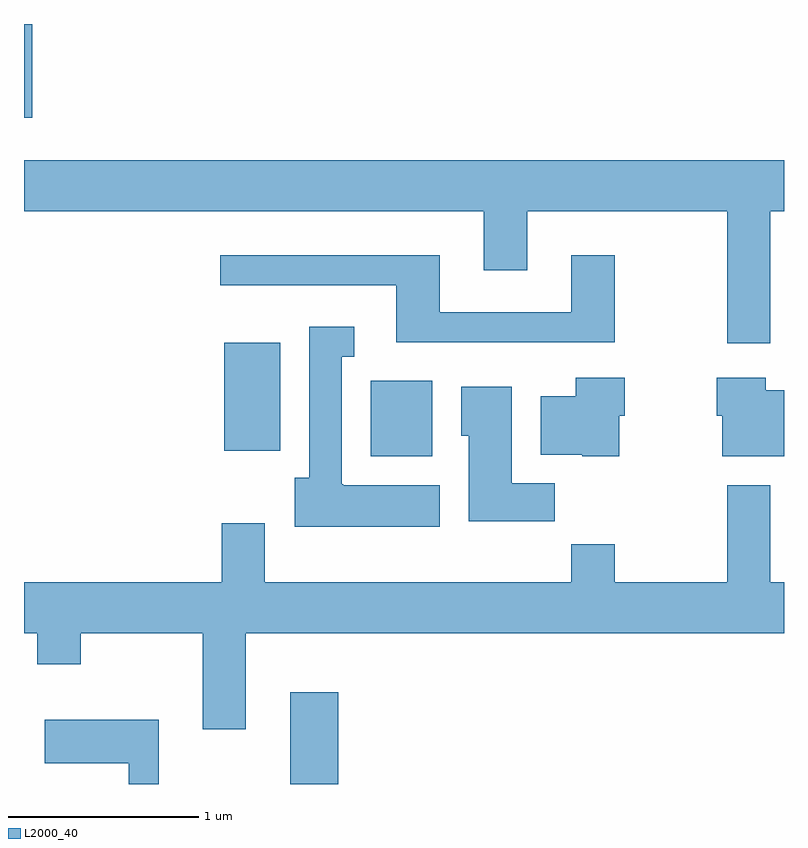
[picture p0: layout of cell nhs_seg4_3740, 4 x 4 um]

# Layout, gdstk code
import gdstk
lib = gdstk.Library(unit=1e-6, precision=1e-09)
def R(c, l, rs):  # rectangles x0, y0, x1, y1
    for r in rs: c.add(gdstk.rectangle(r[:2], r[2:], *l))
def P(c, l, *ps):  # polygons
    for p in ps: c.add(gdstk.Polygon(p, *l))
L2000_40 = (2000, 40)

nhs_seg4_3740 = lib.new_cell('nhs_seg4_3740')
R(nhs_seg4_3740, L2000_40, [(297.011,1253.982,297.264,1254.464), (297.436,1255.706,297.759,1256.104), (296.666,1255.736,296.959,1256.304), (295.611,1257.488,295.654,1257.982)])
P(nhs_seg4_3740, L2000_40, [(299.539,1256.996),(299.611,1256.996),(299.611,1257.264),(295.611,1257.264),(295.611,1256.996),(298.031,1256.996),(298.031,1256.686),(298.259,1256.686),(298.259,1256.996),(299.311,1256.996),(299.311,1256.301),(299.539,1256.301)],
  [(298.719,1256.764),(298.491,1256.764),(298.491,1256.464),(297.799,1256.464),(297.799,1256.764),(296.643,1256.764),(296.643,1256.606),(297.571,1256.606),(297.571,1256.306),(298.719,1256.306)],
  [(297.799,1255.554),(297.29,1255.554),(297.29,1255.56),(297.284,1255.56),(297.284,1256.231),(297.348,1256.231),(297.348,1256.389),(297.111,1256.389),(297.111,1255.594),(297.036,1255.594),(297.036,1255.336),(297.799,1255.336)],
  [(299.611,1256.054),(299.514,1256.054),(299.514,1256.119),(299.256,1256.119),(299.256,1255.921),(299.286,1255.921),(299.286,1255.706),(299.611,1255.706)],
  [(298.744,1255.921),(298.774,1255.921),(298.774,1256.119),(298.516,1256.119),(298.516,1256.024),(298.331,1256.024),(298.331,1255.716),(298.55,1255.716),(298.55,1255.706),(298.744,1255.706)],
  [(298.404,1255.564),(298.179,1255.564),(298.179,1256.074),(297.911,1256.074),(297.911,1255.816),(297.951,1255.816),(297.951,1255.366),(298.404,1255.366)],
  [(296.779,1254.776),(299.611,1254.776),(299.611,1255.044),(299.539,1255.044),(299.539,1255.554),(299.311,1255.554),(299.311,1255.044),(298.719,1255.044),(298.719,1255.244),(298.491,1255.244),(298.491,1255.044),(296.879,1255.044),(296.879,1255.354),(296.651,1255.354),(296.651,1255.044),(295.611,1255.044),(295.611,1254.776),(295.681,1254.776),(295.681,1254.611),(295.909,1254.611),(295.909,1254.776),(296.551,1254.776),(296.551,1254.271),(296.779,1254.271)],
  [(296.319,1254.319),(295.721,1254.319),(295.721,1254.091),(296.161,1254.091),(296.161,1253.982),(296.319,1253.982)])

lib.write_gds('nhs_seg4_3740.gds')
